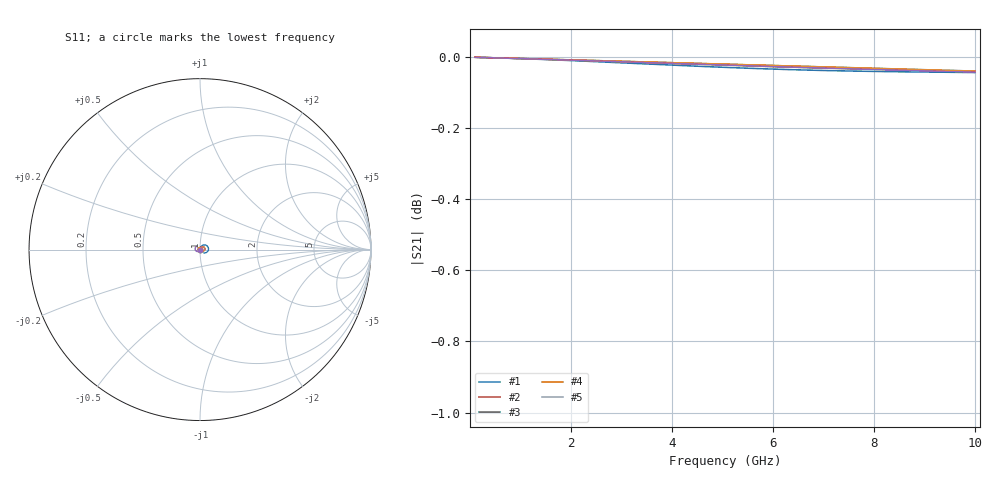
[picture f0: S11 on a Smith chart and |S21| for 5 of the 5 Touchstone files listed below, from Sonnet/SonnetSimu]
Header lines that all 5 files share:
! Sonnet Data File
! From: em Version : 18.58
! From Project: Microstrip_ref
! Data is De-embedded
! Data File Written: 05/20/2025 14:19:08
!< HDATE 12/30/2024 21:26:45
!< MDATE 12/30/2024 21:26:45
!< PARAMS
!< END PARAMS
# GHZ S MA R 50.00000
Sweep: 100 MHz to 10 GHz
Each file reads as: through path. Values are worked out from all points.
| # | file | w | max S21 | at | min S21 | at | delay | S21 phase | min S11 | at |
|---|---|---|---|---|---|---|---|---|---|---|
| 1 | Microstrip_ref_param1.s2p | 210.0 | 0.00 dB | 100 MHz | 0.0 dB | 10 GHz | 37.1 ps | -67 deg at 5.05 GHz | -58.1 dB | 100 MHz |
| 2 | Microstrip_ref_param2.s2p | 220.0 | 0.00 dB | 100 MHz | 0.0 dB | 10 GHz | 37.1 ps | -67 deg at 5.05 GHz | -62.2 dB | 100 MHz |
| 3 | Microstrip_ref_param3.s2p | 230.0 | 0.00 dB | 100 MHz | 0.0 dB | 10 GHz | 37.2 ps | -67 deg at 5.05 GHz | -69.5 dB | 100 MHz |
| 4 | Microstrip_ref_param4.s2p | 240.0 | 0.00 dB | 100 MHz | 0.0 dB | 10 GHz | 37.3 ps | -67 deg at 5.05 GHz | -75.0 dB | 100 MHz |
| 5 | Microstrip_ref_param5.s2p | 250.0 | 0.00 dB | 100 MHz | 0.0 dB | 10 GHz | 37.3 ps | -67 deg at 5.05 GHz | -64.7 dB | 100 MHz |
